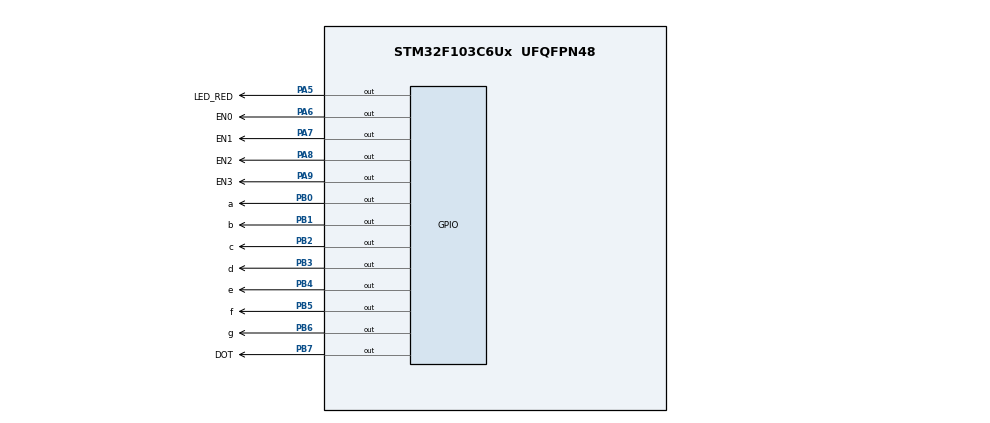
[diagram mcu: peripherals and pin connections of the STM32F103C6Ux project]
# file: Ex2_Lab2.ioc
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Mcu.Family=STM32F1
Mcu.Name=STM32F103C6Ux
Mcu.Package=UFQFPN48
NVIC.PriorityGroup=NVIC_PRIORITYGROUP_4
NVIC.TIM2_IRQn=true\:0\:0\:false\:false\:true\:true\:true
PA5.GPIO_Label=LED_RED
PA5.Signal=GPIO_Output
PA6.GPIO_Label=EN0
PA6.Signal=GPIO_Output
PA7.GPIO_Label=EN1
PA7.Signal=GPIO_Output
PA8.GPIO_Label=EN2
PA8.Signal=GPIO_Output
PA9.GPIO_Label=EN3
PA9.Signal=GPIO_Output
PB0.GPIO_Label=a
PB0.Signal=GPIO_Output
PB1.GPIO_Label=b
PB1.Signal=GPIO_Output
PB2.GPIO_Label=c
PB2.Signal=GPIO_Output
PB3.GPIO_Label=d
PB3.Signal=GPIO_Output
PB4.GPIO_Label=e
PB4.Signal=GPIO_Output
PB5.GPIO_Label=f
PB5.Signal=GPIO_Output
PB6.GPIO_Label=g
PB6.Signal=GPIO_Output
PB7.GPIO_Label=DOT
PB7.Signal=GPIO_Output
ProjectManager.HeapSize=0x200
ProjectManager.StackSize=0x400
ProjectManager.TargetToolchain=STM32CubeIDE
RCC.APB1Freq_Value=8000000
RCC.APB2Freq_Value=8000000
TIM2.Period=9
TIM2.Prescaler=7999
VP_SYS_VS_ND.Mode=No_Debug
VP_TIM2_VS_ClockSourceINT.Mode=Internal
board=custom

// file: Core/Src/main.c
/* USER CODE BEGIN Header */
/**
  ******************************************************************************
  * @file           : main.c
  * @brief          : Main program body
  ******************************************************************************
  * @attention
  *
  * <h2><center>&copy; Copyright (c) 2022 STMicroelectronics.
  * All rights reserved.</center></h2>
  *
  * This software component is licensed by ST under BSD 3-Clause license,
  * the "License"; You may not use this file except in compliance with the
  * License. You may obtain a copy of the License at:
  *                        opensource.org/licenses/BSD-3-Clause
  *
  ******************************************************************************
  */
/* USER CODE END Header */
#include "main.h"

TIM_HandleTypeDef htim2;

void SystemClock_Config(void);
static void MX_GPIO_Init(void);
static void MX_TIM2_Init(void);

/* USER CODE BEGIN 0 */
void display7SEG(uint16_t Pin1, uint16_t Pin2, uint16_t Pin3, uint16_t Pin4, uint16_t Pin5, uint16_t Pin6, uint16_t Pin7,
				 GPIO_TypeDef* Port1, GPIO_TypeDef* Port2, GPIO_TypeDef* Port3, GPIO_TypeDef* Port4, GPIO_TypeDef* Port5, GPIO_TypeDef* Port6, GPIO_TypeDef* Port7,
				 int num) {
	switch(num) {
	case 0: //Number 0 is 0000001
		HAL_GPIO_WritePin(Port1, Pin1, RESET);
		HAL_GPIO_WritePin(Port2, Pin2, RESET);
		HAL_GPIO_WritePin(Port3, Pin3, RESET);
		HAL_GPIO_WritePin(Port4, Pin4, RESET);
		HAL_GPIO_WritePin(Port5, Pin5, RESET);
		HAL_GPIO_WritePin(Port6, Pin6, RESET);
		HAL_GPIO_WritePin(Port7, Pin7, SET);
		break;

	case 1: //Number 1 is 1001111
		HAL_GPIO_WritePin(Port1, Pin1, SET);
		HAL_GPIO_WritePin(Port2, Pin2, RESET);
		HAL_GPIO_WritePin(Port3, Pin3, RESET);
		HAL_GPIO_WritePin(Port4, Pin4, SET);
		HAL_GPIO_WritePin(Port5, Pin5, SET);
		HAL_GPIO_WritePin(Port6, Pin6, SET);
		HAL_GPIO_WritePin(Port7, Pin7, SET);
		break;

	case 2: //Number 2 is 0010010
		HAL_GPIO_WritePin(Port1, Pin1, RESET);
		HAL_GPIO_WritePin(Port2, Pin2, RESET);
		HAL_GPIO_WritePin(Port3, Pin3, SET);
		HAL_GPIO_WritePin(Port4, Pin4, RESET);
		HAL_GPIO_WritePin(Port5, Pin5, RESET);
		HAL_GPIO_WritePin(Port6, Pin6, SET);
		HAL_GPIO_WritePin(Port7, Pin7, RESET);
		break;

	case 3: //Number 3 is 0000110
		HAL_GPIO_WritePin(Port1, Pin1, RESET);
		HAL_GPIO_WritePin(Port2, Pin2, RESET);
		HAL_GPIO_WritePin(Port3, Pin3, RESET);
		HAL_GPIO_WritePin(Port4, Pin4, RESET);
		HAL_GPIO_WritePin(Port5, Pin5, SET);
		HAL_GPIO_WritePin(Port6, Pin6, SET);
		HAL_GPIO_WritePin(Port7, Pin7, RESET);
		break;

	case 4: //Number 4 is 1001100
		HAL_GPIO_WritePin(Port1, Pin1, SET);
		HAL_GPIO_WritePin(Port2, Pin2, RESET);
		HAL_GPIO_WritePin(Port3, Pin3, RESET);
		HAL_GPIO_WritePin(Port4, Pin4, SET);
		HAL_GPIO_WritePin(Port5, Pin5, SET);
		HAL_GPIO_WritePin(Port6, Pin6, RESET);
		HAL_GPIO_WritePin(Port7, Pin7, RESET);
		break;

	case 5: //Number 5 is 0100100
		HAL_GPIO_WritePin(Port1, Pin1, RESET);
		HAL_GPIO_WritePin(Port2, Pin2, SET);
		HAL_GPIO_WritePin(Port3, Pin3, RESET);
		HAL_GPIO_WritePin(Port4, Pin4, RESET);
		HAL_GPIO_WritePin(Port5, Pin5, SET);
		HAL_GPIO_WritePin(Port6, Pin6, RESET);
		HAL_GPIO_WritePin(Port7, Pin7, RESET);
		break;

	case 6: //Number 6 is 0100000
		HAL_GPIO_WritePin(Port1, Pin1, RESET);
		HAL_GPIO_WritePin(Port2, Pin2, SET);
		HAL_GPIO_WritePin(Port3, Pin3, RESET);
		HAL_GPIO_WritePin(Port4, Pin4, RESET);
		HAL_GPIO_WritePin(Port5, Pin5, RESET);
		HAL_GPIO_WritePin(Port6, Pin6, RESET);
		HAL_GPIO_WritePin(Port7, Pin7, RESET);
		break;

	case 7: //Number 7 is 0001111
		HAL_GPIO_WritePin(Port1, Pin1, RESET);
		HAL_GPIO_WritePin(Port2, Pin2, RESET);
		HAL_GPIO_WritePin(Port3, Pin3, RESET);
		HAL_GPIO_WritePin(Port4, Pin4, SET);
		HAL_GPIO_WritePin(Port5, Pin5, SET);
		HAL_GPIO_WritePin(Port6, Pin6, SET);
		HAL_GPIO_WritePin(Port7, Pin7, SET);
		break;

	case 8: //Number 8 is 0000000
		HAL_GPIO_WritePin(Port1, Pin1, RESET);
		HAL_GPIO_WritePin(Port2, Pin2, RESET);
		HAL_GPIO_WritePin(Port3, Pin3, RESET);
		HAL_GPIO_WritePin(Port4, Pin4, RESET);
		HAL_GPIO_WritePin(Port5, Pin5, RESET);
		HAL_GPIO_WritePin(Port6, Pin6, RESET);
		HAL_GPIO_WritePin(Port7, Pin7, RESET);
		break;

	case 9: //Number 9 is 0000100
		HAL_GPIO_WritePin(Port1, Pin1, RESET);
		HAL_GPIO_WritePin(Port2, Pin2, RESET);
		HAL_GPIO_WritePin(Port3, Pin3, RESET);
		HAL_GPIO_WritePin(Port4, Pin4, RESET);
		HAL_GPIO_WritePin(Port5, Pin5, SET);
		HAL_GPIO_WritePin(Port6, Pin6, RESET);
		HAL_GPIO_WritePin(Port7, Pin7, RESET);
		break;

	default: break;
	}
}
/* USER CODE END 0 */

int main(void)
{

  /* MCU Configuration--------------------------------------------------------*/

  /* Reset of all peripherals, Initializes the Flash interface and the Systick. */
  HAL_Init();

  /* Configure the system clock */
  SystemClock_Config();

  /* Initialize all configured peripherals */
  MX_GPIO_Init();
  MX_TIM2_Init();
  /* USER CODE BEGIN 2 */
  HAL_TIM_Base_Start_IT(&htim2);
  /* USER CODE END 2 */

  /* Infinite loop */
  while (1)
  {

  }
}

void SystemClock_Config(void)
{
  RCC_OscInitTypeDef RCC_OscInitStruct = {0};
  RCC_ClkInitTypeDef RCC_ClkInitStruct = {0};

  /** Initializes the RCC Oscillators according to the specified parameters
  * in the RCC_OscInitTypeDef structure.
  */
  RCC_OscInitStruct.OscillatorType = RCC_OSCILLATORTYPE_HSI;
  RCC_OscInitStruct.HSIState = RCC_HSI_ON;
  RCC_OscInitStruct.HSICalibrationValue = RCC_HSICALIBRATION_DEFAULT;
  RCC_OscInitStruct.PLL.PLLState = RCC_PLL_NONE;
  if (HAL_RCC_OscConfig(&RCC_OscInitStruct) != HAL_OK)
  {
    Error_Handler();
  }
  /** Initializes the CPU, AHB and APB buses clocks
  */
  RCC_ClkInitStruct.ClockType = RCC_CLOCKTYPE_HCLK|RCC_CLOCKTYPE_SYSCLK
                              |RCC_CLOCKTYPE_PCLK1|RCC_CLOCKTYPE_PCLK2;
  RCC_ClkInitStruct.SYSCLKSource = RCC_SYSCLKSOURCE_HSI;
  RCC_ClkInitStruct.AHBCLKDivider = RCC_SYSCLK_DIV1;
  RCC_ClkInitStruct.APB1CLKDivider = RCC_HCLK_DIV1;
  RCC_ClkInitStruct.APB2CLKDivider = RCC_HCLK_DIV1;

  if (HAL_RCC_ClockConfig(&RCC_ClkInitStruct, FLASH_LATENCY_0) != HAL_OK)
  {
    Error_Handler();
  }
}

static void MX_TIM2_Init(void)
{

  TIM_ClockConfigTypeDef sClockSourceConfig = {0};
  TIM_MasterConfigTypeDef sMasterConfig = {0};

  htim2.Instance = TIM2;
  htim2.Init.Prescaler = 7999;
  htim2.Init.CounterMode = TIM_COUNTERMODE_UP;
  htim2.Init.Period = 9;
  htim2.Init.ClockDivision = TIM_CLOCKDIVISION_DIV1;
  htim2.Init.AutoReloadPreload = TIM_AUTORELOAD_PRELOAD_DISABLE;
  if (HAL_TIM_Base_Init(&htim2) != HAL_OK)
  {
    Error_Handler();
  }
  sClockSourceConfig.ClockSource = TIM_CLOCKSOURCE_INTERNAL;
  if (HAL_TIM_ConfigClockSource(&htim2, &sClockSourceConfig) != HAL_OK)
  {
    Error_Handler();
  }
  sMasterConfig.MasterOutputTrigger = TIM_TRGO_RESET;
  sMasterConfig.MasterSlaveMode = TIM_MASTERSLAVEMODE_DISABLE;
  if (HAL_TIMEx_MasterConfigSynchronization(&htim2, &sMasterConfig) != HAL_OK)
  {
    Error_Handler();
  }

}

static void MX_GPIO_Init(void)
{
  GPIO_InitTypeDef GPIO_InitStruct = {0};

  /* GPIO Ports Clock Enable */
  __HAL_RCC_GPIOA_CLK_ENABLE();
  __HAL_RCC_GPIOB_CLK_ENABLE();

  /*Configure GPIO pin Output Level */
  HAL_GPIO_WritePin(GPIOA, LED_RED_Pin|EN0_Pin|EN1_Pin|EN2_Pin
                          |EN3_Pin, GPIO_PIN_RESET);

  /*Configure GPIO pin Output Level */
  HAL_GPIO_WritePin(GPIOB, a_Pin|b_Pin|c_Pin|d_Pin
                          |e_Pin|f_Pin|g_Pin|DOT_Pin, GPIO_PIN_RESET);

  /*Configure GPIO pins : LED_RED_Pin EN0_Pin EN1_Pin EN2_Pin
                           EN3_Pin */
  GPIO_InitStruct.Pin = LED_RED_Pin|EN0_Pin|EN1_Pin|EN2_Pin
                          |EN3_Pin;
  GPIO_InitStruct.Mode = GPIO_MODE_OUTPUT_PP;
  GPIO_InitStruct.Pull = GPIO_NOPULL;
  GPIO_InitStruct.Speed = GPIO_SPEED_FREQ_LOW;
  HAL_GPIO_Init(GPIOA, &GPIO_InitStruct);

  /*Configure GPIO pins : a_Pin b_Pin c_Pin d_Pin
                           e_Pin f_Pin g_Pin DOT_Pin */
  GPIO_InitStruct.Pin = a_Pin|b_Pin|c_Pin|d_Pin
                          |e_Pin|f_Pin|g_Pin|DOT_Pin;
  GPIO_InitStruct.Mode = GPIO_MODE_OUTPUT_PP;
  GPIO_InitStruct.Pull = GPIO_NOPULL;
  GPIO_InitStruct.Speed = GPIO_SPEED_FREQ_LOW;
  HAL_GPIO_Init(GPIOB, &GPIO_InitStruct);

}

/* USER CODE BEGIN 4 */
int counter1 = 50; //LED 7SEG counter, switch every 0.5 second
int counter2 = 100; //LED RED1 counter, switch every second
int counter3 = 100; //counter of two LEDs display the colon, switch every second

int status = 0; //LED 7SEG status
/*
 * status = 0: LED SEG1 display
 * status = 1: LED SEG2 display
 * status = 2: LED SEG3 display
 * status = 3: LED SEG4 display
 *
 */

void HAL_TIM_PeriodElapsedCallback(TIM_HandleTypeDef *htim) {
	if (counter2 <= 0) //switch LED RED every second
	{
		HAL_GPIO_TogglePin(LED_RED_GPIO_Port, LED_RED_Pin);
		counter2 = 100; //reset counter2
	}

	if (counter3 <= 0) //switch LED RED every second
	{
		HAL_GPIO_TogglePin(DOT_GPIO_Port, DOT_Pin);
		counter3 = 100; //reset counter3
	}

	if (htim -> Instance == TIM2) {
		counter1--;
		counter2--;
		counter3--;
	}

	if (counter1 <= 0) {
		if (status == 0) //LEG SEG1 is displaying
		{
			display7SEG(a_Pin, b_Pin, c_Pin, d_Pin, e_Pin, f_Pin, g_Pin,
					    a_GPIO_Port, b_GPIO_Port, c_GPIO_Port, d_GPIO_Port, e_GPIO_Port, f_GPIO_Port, g_GPIO_Port,
						1);

			HAL_GPIO_WritePin(EN0_GPIO_Port, EN0_Pin, RESET);
			HAL_GPIO_WritePin(EN1_GPIO_Port, EN1_Pin, SET);
			HAL_GPIO_WritePin(EN2_GPIO_Port, EN2_Pin, SET);
			HAL_GPIO_WritePin(EN3_GPIO_Port, EN3_Pin, SET);

			status = 1;

		}
		else if (status == 1) //LEG SEG2 is displaying
		{
			display7SEG(a_Pin, b_Pin, c_Pin, d_Pin, e_Pin, f_Pin, g_Pin,
					    a_GPIO_Port, b_GPIO_Port, c_GPIO_Port, d_GPIO_Port, e_GPIO_Port, f_GPIO_Port, g_GPIO_Port,
						2);

			HAL_GPIO_WritePin(EN0_GPIO_Port, EN0_Pin, SET);
			HAL_GPIO_WritePin(EN1_GPIO_Port, EN1_Pin, RESET);
			HAL_GPIO_WritePin(EN2_GPIO_Port, EN2_Pin, SET);
			HAL_GPIO_WritePin(EN3_GPIO_Port, EN3_Pin, SET);

			status = 2;

		}
		else if (status == 2) //LED SEG3 is displaying
		{
			display7SEG(a_Pin, b_Pin, c_Pin, d_Pin, e_Pin, f_Pin, g_Pin,
					    a_GPIO_Port, b_GPIO_Port, c_GPIO_Port, d_GPIO_Port, e_GPIO_Port, f_GPIO_Port, g_GPIO_Port,
						3);

			HAL_GPIO_WritePin(EN0_GPIO_Port, EN0_Pin, SET);
			HAL_GPIO_WritePin(EN1_GPIO_Port, EN1_Pin, SET);
			HAL_GPIO_WritePin(EN2_GPIO_Port, EN2_Pin, RESET);
			HAL_GPIO_WritePin(EN3_GPIO_Port, EN3_Pin, SET);

			status = 3;

		}
		else if (status == 3) //LED SEG3 is displaying
		{
			display7SEG(a_Pin, b_Pin, c_Pin, d_Pin, e_Pin, f_Pin, g_Pin,
					    a_GPIO_Port, b_GPIO_Port, c_GPIO_Port, d_GPIO_Port, e_GPIO_Port, f_GPIO_Port, g_GPIO_Port,
						0);

			HAL_GPIO_WritePin(EN0_GPIO_Port, EN0_Pin, SET);
			HAL_GPIO_WritePin(EN1_GPIO_Port, EN1_Pin, SET);
			HAL_GPIO_WritePin(EN2_GPIO_Port, EN2_Pin, SET);
			HAL_GPIO_WritePin(EN3_GPIO_Port, EN3_Pin, RESET);

			status = 0;

		}
		counter1 = 50; //reset counter1
	}
}
/* USER CODE END 4 */

void Error_Handler(void)
{
  __disable_irq();
  while (1)
  {
  }
}

/************************ (C) COPYRIGHT STMicroelectronics *****END OF FILE****/
